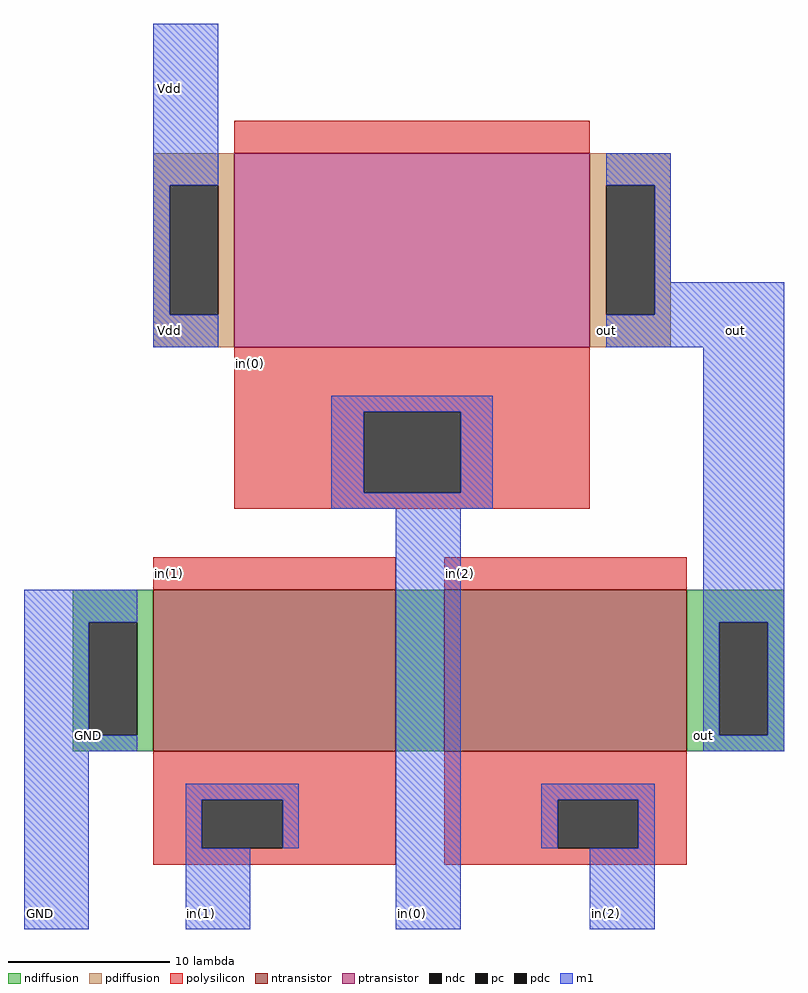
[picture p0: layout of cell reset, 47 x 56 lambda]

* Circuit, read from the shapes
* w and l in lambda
.subckt reset GND Vdd in(2) in(1) out in(0)
M1 n1 in(1) GND VSUBS nfet w=10 l=15
M2 out in(2) n1 VSUBS nfet w=10 l=15
M3 out in(0) Vdd NWELL pfet w=12 l=22
.ends

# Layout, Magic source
magic
tech sky130l
<< ndiffusion >>
rect -21 -5 -16 -3
rect -21 -12 -20 -5
rect -17 -12 -16 -5
rect -21 -13 -16 -12
rect -1 -13 2 -3
rect 17 -5 23 -3
rect 17 -12 19 -5
rect 22 -12 23 -5
rect 17 -13 23 -12
<< ndc >>
rect -20 -12 -17 -5
rect 19 -12 22 -5
<< ntransistor >>
rect -16 -13 -1 -3
rect 2 -13 17 -3
<< pdiffusion >>
rect -16 22 -11 24
rect -16 14 -15 22
rect -12 14 -11 22
rect -16 12 -11 14
rect 11 22 16 24
rect 11 14 12 22
rect 15 14 16 22
rect 11 12 16 14
<< pdc >>
rect -15 14 -12 22
rect 12 14 15 22
<< ptransistor >>
rect -11 12 11 24
<< polysilicon >>
rect -11 24 11 26
rect -11 8 11 12
rect -11 3 -3 8
rect 3 3 11 8
rect -11 2 11 3
rect -16 -3 -1 -1
rect 2 -3 17 -1
rect -16 -16 -1 -13
rect -16 -19 -13 -16
rect -8 -19 -1 -16
rect -16 -20 -1 -19
rect 2 -16 17 -13
rect 2 -19 9 -16
rect 14 -19 17 -16
rect 2 -20 17 -19
<< pc >>
rect -3 3 3 8
rect -13 -19 -8 -16
rect 9 -19 14 -16
<< m1 >>
rect -16 22 -12 32
rect -16 14 -15 22
rect -16 12 -12 14
rect 12 22 16 24
rect 15 16 16 22
rect 15 14 23 16
rect 12 12 23 14
rect -5 8 5 9
rect -5 3 -3 8
rect 3 3 5 8
rect -5 2 5 3
rect -24 -5 -17 -3
rect -24 -12 -20 -5
rect -24 -13 -17 -12
rect -24 -24 -20 -13
rect -14 -16 -7 -15
rect -14 -19 -13 -16
rect -8 -19 -7 -16
rect -14 -24 -10 -19
rect -1 -24 3 2
rect 18 -5 23 12
rect 18 -12 19 -5
rect 22 -12 23 -5
rect 18 -13 23 -12
rect 8 -16 15 -15
rect 8 -19 9 -16
rect 14 -19 15 -16
rect 11 -24 15 -19
<< labels >>
rlabel ndiffusion -20 -12 -20 -12 3 GND
rlabel polysilicon -15 -2 -15 -2 3 in(1)
rlabel polysilicon 3 -2 3 -2 3 in(2)
rlabel ndiffusion 18 -12 18 -12 3 out
rlabel polysilicon -10 11 -10 11 3 in(0)
rlabel pdiffusion -15 13 -15 13 3 Vdd
rlabel pdiffusion 12 13 12 13 3 out
rlabel m1 -15 28 -15 28 3 Vdd
port 1 e
rlabel m1 20 13 20 13 3 out
port 5 e
rlabel m1 -23 -23 -23 -23 3 GND
port 1 e
rlabel m1 -13 -23 -13 -23 3 in(1)
port 4 e
rlabel m1 0 -23 0 -23 3 in(0)
port 6 e
rlabel m1 12 -23 12 -23 3 in(2)
port 3 e
<< end >>
